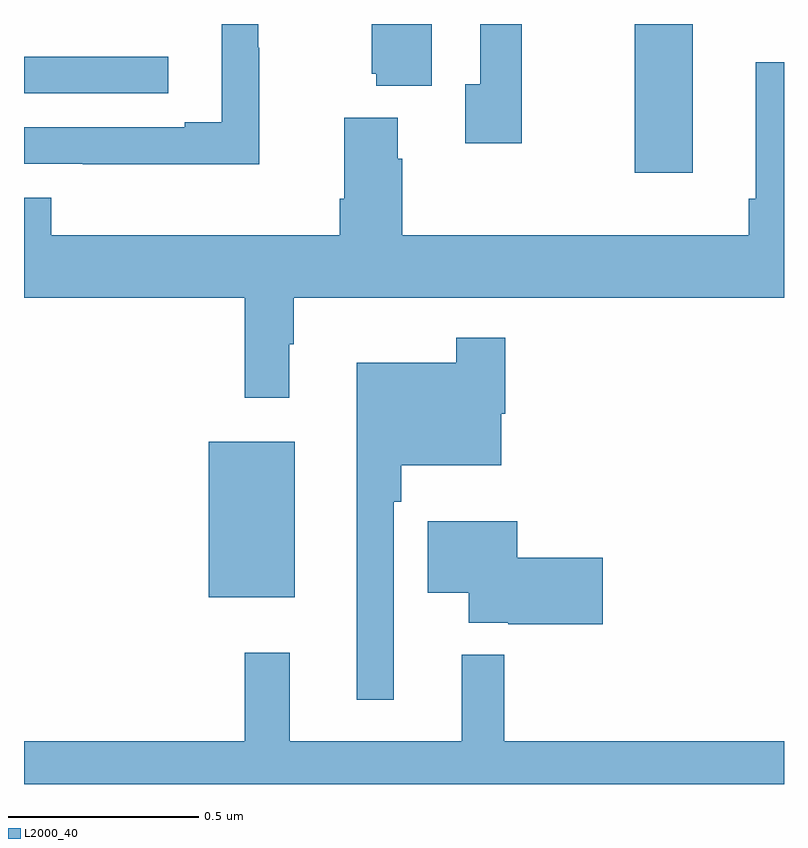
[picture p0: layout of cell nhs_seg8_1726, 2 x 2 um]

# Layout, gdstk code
import gdstk
lib = gdstk.Library(unit=1e-6, precision=1e-09)
def R(c, l, rs):  # rectangles x0, y0, x1, y1
    for r in rs: c.add(gdstk.rectangle(r[:2], r[2:], *l))
def P(c, l, *ps):  # polygons
    for p in ps: c.add(gdstk.Polygon(p, *l))
L2000_40 = (2000, 40)

nhs_seg8_1726 = lib.new_cell('nhs_seg8_1726')
R(nhs_seg8_1726, L2000_40, [(134.486,1102.391,134.713,1102.801), (135.607,1103.508,135.76,1103.9), (134,1103.718,134.38,1103.814)])
P(nhs_seg8_1726, L2000_40, [(134.619,1103.837),(134.616,1103.837),(134.616,1103.9),(134.52,1103.9),(134.52,1103.641),(134.423,1103.641),(134.423,1103.628),(134,1103.628),(134,1103.532),(134.155,1103.532),(134.155,1103.531),(134.619,1103.531)],
  [(135.31,1103.9),(135.201,1103.9),(135.201,1103.742),(135.161,1103.742),(135.161,1103.586),(135.31,1103.586)],
  [(135.073,1103.9),(134.915,1103.9),(134.915,1103.769),(134.927,1103.769),(134.927,1103.738),(135.073,1103.738)],
  [(134.698,1103.057),(134.71,1103.057),(134.71,1103.18),(136,1103.18),(136,1103.8),(135.926,1103.8),(135.926,1103.44),(135.907,1103.44),(135.907,1103.344),(134.996,1103.344),(134.996,1103.546),(134.983,1103.546),(134.983,1103.653),(134.843,1103.653),(134.843,1103.44),(134.831,1103.44),(134.831,1103.344),(134.072,1103.344),(134.072,1103.443),(134,1103.443),(134,1103.18),(134.581,1103.18),(134.581,1102.917),(134.698,1102.917)],
  [(134.973,1102.643),(134.993,1102.643),(134.993,1102.739),(135.256,1102.739),(135.256,1102.875),(135.266,1102.875),(135.266,1103.074),(135.138,1103.074),(135.138,1103.008),(134.876,1103.008),(134.876,1102.122),(134.973,1102.122)],
  [(135.523,1102.496),(135.298,1102.496),(135.298,1102.591),(135.062,1102.591),(135.062,1102.403),(135.17,1102.403),(135.17,1102.325),(135.274,1102.325),(135.274,1102.32),(135.523,1102.32)],
  [(136,1102.012),(135.264,1102.012),(135.264,1102.24),(135.152,1102.24),(135.152,1102.012),(134.699,1102.012),(134.699,1102.246),(134.581,1102.246),(134.581,1102.012),(134,1102.012),(134,1101.9),(136,1101.9)])

lib.write_gds('nhs_seg8_1726.gds')
